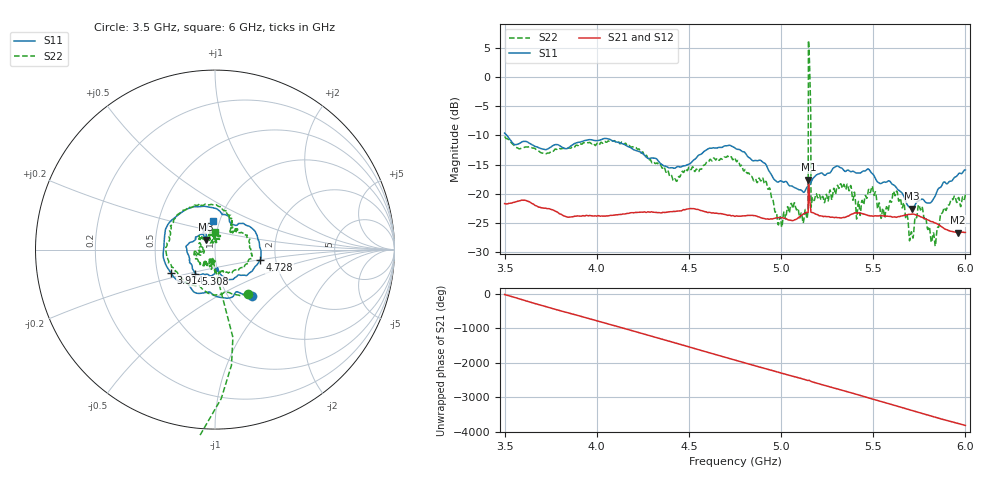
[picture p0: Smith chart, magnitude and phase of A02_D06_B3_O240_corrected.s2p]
! Created with skrf 1.9.0 (http://scikit-rf.org).
# Hz S RI R 50.0
!freq ReS11 ImS11 ReS21 ImS21 ReS12 ImS12 ReS22 ImS22
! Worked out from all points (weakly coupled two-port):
!   1601 points, 3.5 GHz to 6 GHz, reference 50 ohm
!   highest |S21| = -17.61 dB at 5.148 GHz (marker M1); lowest = -26.7 dB at 5.958 GHz (marker M2)
!   lowest |S11| = -22.6 dB at 5.711 GHz (marker M3), VSWR 1.16, Z = 45.1 + j5.05 ohm
!   |S11| at or under -10 dB: 3.513 GHz to end of sweep
!   |S22| runs from -29.0 to 6.3 dB; largest |S21 - S12| = 0.00098
!   S11 on the Smith chart (normalised r, x): 3.5 GHz: 1.28, -0.74; 3.914 GHz: 0.59, -0.16; 4.728 GHz: 1.65, -0.21; 5.308 GHz: 0.78, -0.21; 6 GHz: 0.93, +0.30
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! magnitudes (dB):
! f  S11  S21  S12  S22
! 3.5 GHz  -9.6  -21.7  -21.7  -10.2
! 3.914 GHz  -11.1  -23.9  -23.8  -11.5
! 3.917 GHz  -11.1  -23.9  -23.8  -11.5
! 4.334 GHz  -14.4  -23.3  -23.2  -15.0
! 4.728 GHz  -11.8  -23.8  -23.7  -13.7
! 4.75 GHz  -12.2  -23.9  -23.8  -13.9
! 4.911 GHz  -14.8  -24.3  -24.2  -18.3
! 4.994 GHz  -17.8  -24.1  -24.1  -24.1
! 5.112 GHz  -19.5  -23.7  -23.6  -23.6
! 5.134 GHz  -19.3  -23.3  -23.3  -23.0
! 5.148 GHz  -18.7  -17.6  -17.6  6.3
! 5.161 GHz  -18.2  -22.8  -22.7  -6.0
! 5.167 GHz  -17.7  -23.3  -23.2  -21.3
! 5.175 GHz  -17.3  -23.3  -23.3  -20.8
! 5.308 GHz  -15.3  -24.1  -24.1  -18.6
! 5.584 GHz  -17.8  -23.9  -23.9  -22.4
! 5.622 GHz  -18.8  -24.1  -24.0  -20.2
! 5.711 GHz  -22.6  -23.5  -23.4  -27.0
! 5.755 GHz  -21.1  -23.9  -23.9  -22.7
! 5.828 GHz  -20.8  -24.9  -24.9  -26.8
! 5.958 GHz  -16.8  -26.7  -26.6  -21.3
! 6 GHz  -15.9  -26.7  -26.6  -20.1
